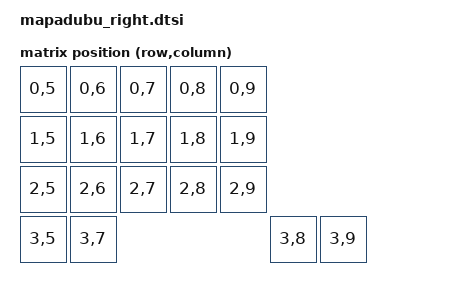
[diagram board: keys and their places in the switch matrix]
/*
 * Copyright (c) 2024 The ZMK Contributors
 *
 * SPDX-License-Identifier: MIT
 */

#include "mapadubu.dtsi"
#include "mapadubu_layout.dtsi"

/ {
    chosen {
        zmk,layout = &keymap_layout;
    };
};

&kscan0 {
	matrix_transform = &matrix_transform;
};

&matrix_transform {
	columns = <5>;
	rows = <4>;
	map = <
        RC(0,5) RC(0,6) RC(0,7) RC(0,8) RC(0,9)
        RC(1,5) RC(1,6) RC(1,7) RC(1,8) RC(1,9)
        RC(2,5) RC(2,6) RC(2,7) RC(2,8) RC(2,9)
        RC(3,5) ZMK_MATRIX_NODE_NOOP RC(3,7) RC(3,8) RC(3,9)
	>;
};
